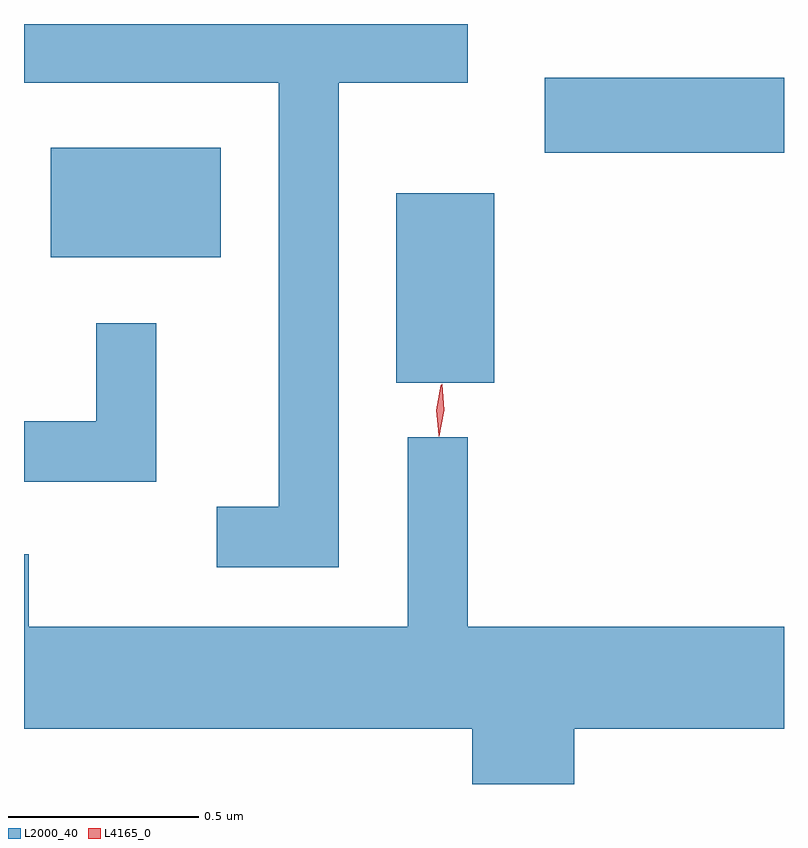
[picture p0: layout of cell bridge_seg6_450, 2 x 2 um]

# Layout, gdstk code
import gdstk
lib = gdstk.Library(unit=1e-6, precision=1e-09)
def R(c, l, rs):  # rectangles x0, y0, x1, y1
    for r in rs: c.add(gdstk.rectangle(r[:2], r[2:], *l))
def P(c, l, *ps):  # polygons
    for p in ps: c.add(gdstk.Polygon(p, *l))
L2000_40 = (2000, 40)
L4165_0 = (4165, 0)

bridge_seg6_450 = lib.new_cell('bridge_seg6_450')
R(bridge_seg6_450, L2000_40, [(974.116,1604.226,974.374,1604.724), (973.206,1604.556,973.654,1604.844), (974.506,1604.831,975.136,1605.029)])
P(bridge_seg6_450, L2000_40, [(973.964,1605.016),(974.304,1605.016),(974.304,1605.17),(973.136,1605.17),(973.136,1605.016),(973.806,1605.016),(973.806,1603.899),(973.643,1603.899),(973.643,1603.741),(973.964,1603.741)],
  [(973.484,1604.383),(973.326,1604.383),(973.326,1604.124),(973.136,1604.124),(973.136,1603.966),(973.484,1603.966)],
  [(974.584,1603.316),(975.136,1603.316),(975.136,1603.584),(974.304,1603.584),(974.304,1604.083),(974.146,1604.083),(974.146,1603.584),(973.149,1603.584),(973.149,1603.774),(973.136,1603.774),(973.136,1603.316),(974.316,1603.316),(974.316,1603.17),(974.584,1603.17)])
P(bridge_seg6_450, L4165_0, [(974.228,1604.085),(974.228,1604.085),(974.222,1604.154),(974.235,1604.222),(974.236,1604.222),(974.236,1604.222),(974.242,1604.153),(974.229,1604.085)],
  [(974.228,1604.088),(974.228,1604.088),(974.221,1604.154),(974.233,1604.219),(974.233,1604.219),(974.234,1604.219),(974.241,1604.153),(974.229,1604.088)])

lib.write_gds('bridge_seg6_450.gds')
